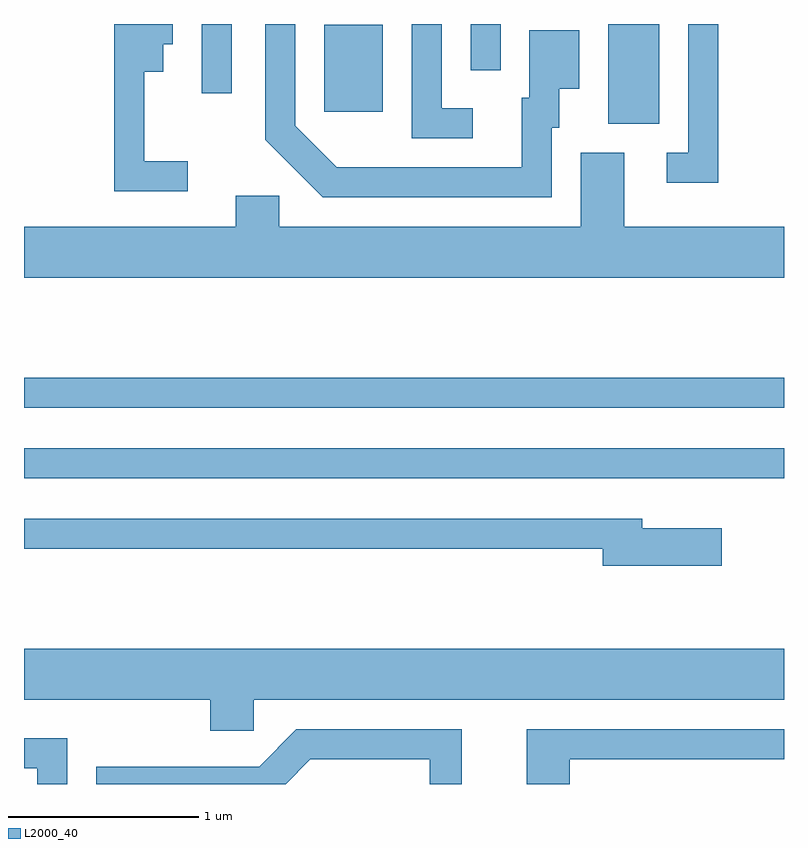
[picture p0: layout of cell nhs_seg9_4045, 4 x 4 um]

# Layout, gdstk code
import gdstk
lib = gdstk.Library(unit=1e-6, precision=1e-09)
def R(c, l, rs):  # rectangles x0, y0, x1, y1
    for r in rs: c.add(gdstk.rectangle(r[:2], r[2:], *l))
def P(c, l, *ps):  # polygons
    for p in ps: c.add(gdstk.Polygon(p, *l))
L2000_40 = (2000, 40)

nhs_seg9_4045 = lib.new_cell('nhs_seg9_4045')
R(nhs_seg9_4045, L2000_40, [(303.611,2044.041,307.611,2044.199), (303.611,2044.411,307.611,2044.569), (306.686,2045.906,306.954,2046.432), (305.191,2045.971,305.499,2046.429), (304.546,2046.068,304.704,2046.432), (305.961,2046.188,306.119,2046.432)])
P(nhs_seg9_4045, L2000_40, [(304.473,2045.709),(304.244,2045.709),(304.244,2046.181),(304.344,2046.181),(304.344,2046.326),(304.394,2046.326),(304.394,2046.432),(304.086,2046.432),(304.086,2045.551),(304.473,2045.551)],
  [(305.973,2045.989),(305.809,2045.989),(305.809,2046.432),(305.651,2046.432),(305.651,2045.831),(305.973,2045.831)],
  [(306.389,2045.886),(306.429,2045.886),(306.429,2046.091),(306.534,2046.091),(306.534,2046.399),(306.271,2046.399),(306.271,2046.044),(306.231,2046.044),(306.231,2045.679),(305.257,2045.679),(305.039,2045.897),(305.039,2046.432),(304.881,2046.432),(304.881,2045.824),(305.184,2045.521),(306.389,2045.521)],
  [(307.264,2046.432),(307.106,2046.432),(307.106,2045.754),(306.993,2045.754),(306.993,2045.596),(307.264,2045.596)],
  [(307.611,2045.364),(306.769,2045.364),(306.769,2045.754),(306.541,2045.754),(306.541,2045.364),(304.954,2045.364),(304.954,2045.529),(304.726,2045.529),(304.726,2045.364),(303.611,2045.364),(303.611,2045.096),(307.611,2045.096)],
  [(307.284,2043.779),(306.864,2043.779),(306.864,2043.829),(303.611,2043.829),(303.611,2043.671),(306.656,2043.671),(306.656,2043.581),(307.284,2043.581)],
  [(304.819,2042.876),(307.611,2042.876),(307.611,2043.144),(303.611,2043.144),(303.611,2042.876),(304.591,2042.876),(304.591,2042.711),(304.819,2042.711)],
  [(306.484,2042.561),(307.611,2042.561),(307.611,2042.719),(306.256,2042.719),(306.256,2042.432),(306.484,2042.432)],
  [(305.117,2042.561),(305.746,2042.561),(305.746,2042.432),(305.914,2042.432),(305.914,2042.719),(305.044,2042.719),(304.849,2042.524),(303.991,2042.524),(303.991,2042.432),(304.988,2042.432)],
  [(303.839,2042.674),(303.611,2042.674),(303.611,2042.516),(303.681,2042.516),(303.681,2042.432),(303.839,2042.432)])

lib.write_gds('nhs_seg9_4045.gds')
